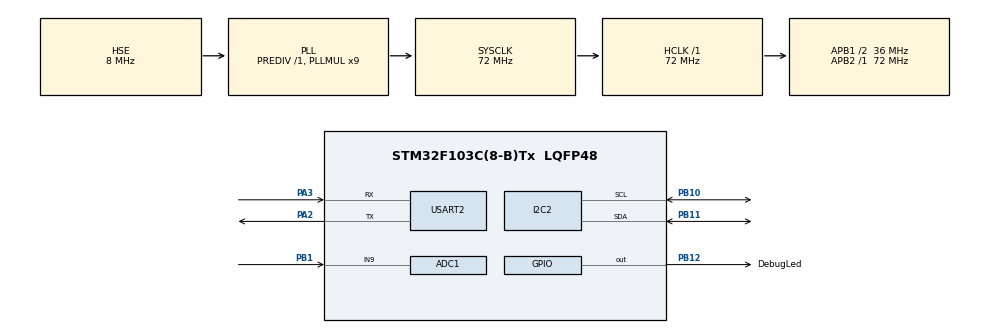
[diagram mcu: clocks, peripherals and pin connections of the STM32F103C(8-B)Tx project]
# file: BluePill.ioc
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ADC1.Channel-2\#ChannelRegularConversion=ADC_CHANNEL_9
ADC1.NbrOfConversionFlag=1
ADC1.Rank-2\#ChannelRegularConversion=1
ADC1.SamplingTime-2\#ChannelRegularConversion=ADC_SAMPLETIME_1CYCLE_5
ADC1.master=1
Mcu.Family=STM32F1
Mcu.Name=STM32F103C(8-B)Tx
Mcu.Package=LQFP48
NVIC.PriorityGroup=NVIC_PRIORITYGROUP_4
NVIC.USART2_IRQn=true\:0\:0\:false\:false\:true\:true\:true
PA13.Mode=Serial_Wire
PA13.Signal=SYS_JTMS-SWDIO
PA14.Mode=Serial_Wire
PA14.Signal=SYS_JTCK-SWCLK
PA2.Mode=Asynchronous
PA2.Signal=USART2_TX
PA3.Mode=Asynchronous
PA3.Signal=USART2_RX
PB1.Signal=ADCx_IN9
PB10.Mode=I2C
PB10.Signal=I2C2_SCL
PB11.Mode=I2C
PB11.Signal=I2C2_SDA
PB12.GPIO_Label=DebugLed
PB12.Signal=GPIO_Output
PD0-OSC_IN.Mode=HSE-External-Oscillator
PD0-OSC_IN.Signal=RCC_OSC_IN
PD1-OSC_OUT.Mode=HSE-External-Oscillator
PD1-OSC_OUT.Signal=RCC_OSC_OUT
ProjectManager.HeapSize=0x200
ProjectManager.StackSize=0x400
ProjectManager.TargetToolchain=STM32CubeIDE
RCC.ADCPresc=RCC_ADCPCLK2_DIV6
RCC.AHBFreq_Value=72000000
RCC.APB1CLKDivider=RCC_HCLK_DIV2
RCC.APB1Freq_Value=36000000
RCC.APB1TimFreq_Value=72000000
RCC.APB2Freq_Value=72000000
RCC.APB2TimFreq_Value=72000000
RCC.HCLKFreq_Value=72000000
RCC.PLLMUL=RCC_PLL_MUL9
RCC.PLLSourceVirtual=RCC_PLLSOURCE_HSE
RCC.SYSCLKFreq_VALUE=72000000
RCC.SYSCLKSource=RCC_SYSCLKSOURCE_PLLCLK
RCC.USBFreq_Value=72000000
SH.ADCx_IN9.0=ADC1_IN9,IN9
USART2.VirtualMode=VM_ASYNC
board=custom

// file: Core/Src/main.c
/* USER CODE BEGIN Header */
/**
  ******************************************************************************
  * @file           : main.c
  * @brief          : Main program body
  ******************************************************************************
  * @attention
  *
  * <h2><center>&copy; Copyright (c) 2021 STMicroelectronics.
  * All rights reserved.</center></h2>
  *
  * This software component is licensed by ST under BSD 3-Clause license,
  * the "License"; You may not use this file except in compliance with the
  * License. You may obtain a copy of the License at:
  *                        opensource.org/licenses/BSD-3-Clause
  *
  ******************************************************************************
  */
/* USER CODE END Header */
#include "main.h"

ADC_HandleTypeDef hadc1;

I2C_HandleTypeDef hi2c2;

UART_HandleTypeDef huart2;

void SystemClock_Config(void);
static void MX_GPIO_Init(void);
static void MX_USART2_UART_Init(void);
static void MX_I2C2_Init(void);
static void MX_ADC1_Init(void);

int main(void)
{

  /* MCU Configuration--------------------------------------------------------*/

  /* Reset of all peripherals, Initializes the Flash interface and the Systick. */
  HAL_Init();

  /* Configure the system clock */
  SystemClock_Config();

  /* Initialize all configured peripherals */
  MX_GPIO_Init();
  MX_USART2_UART_Init();
  MX_I2C2_Init();
  MX_ADC1_Init();
  /* USER CODE BEGIN 2 */

	int i;
	int error;

	for(i = 0; i < LINE_BUFLEN; i++)
		input.line_rx_buffer[i] = 0;

	// Reset some stuff
	input.byte_buffer_rx[0] = 0;
	input.char_counter = 0;
	input.command_execute_flag = FALSE;
	debug_enable = FALSE;
	command.i2c_scan_cmd.i2c_handle = hi2c2;
	command.adc_get_cmd.adc_handle = hadc1;
	HAL_UART_Receive_IT(&huart2, input.byte_buffer_rx, BYTE_BUFLEN);

	FL_debug("starting the main function");

  /* USER CODE END 2 */

  /* Infinite loop */
  /* USER CODE BEGIN WHILE */
  while (1)
  {
	  if(input.command_execute_flag == TRUE)
	  {
		  HAL_GPIO_TogglePin(DebugLed_GPIO_Port, DebugLed_Pin);
		  FL_debug("");
		  input.command_execute_flag = FALSE;
		  error = FL_uart_decode();

		  if(error)
		  {
			  FL_error_handler("main.c", "main", "FL_uart_decode() returned an error\n");
		  }

//		  printf("back in main.c\n");
//		  printf("Command set_res contents:\n");
//		  printf("\tdigipot   : %d\n", command.set_res_cmd.digipot_no);
//		  printf("\tresistance: %d\n", command.set_res_cmd.res);

		  LL_exec();
		  FL_clean(hi2c2, hadc1);
		  HAL_GPIO_TogglePin(DebugLed_GPIO_Port, DebugLed_Pin);
	  }

    /* USER CODE END WHILE */

  }
}

void SystemClock_Config(void)
{
  RCC_OscInitTypeDef RCC_OscInitStruct = {0};
  RCC_ClkInitTypeDef RCC_ClkInitStruct = {0};
  RCC_PeriphCLKInitTypeDef PeriphClkInit = {0};

  /** Initializes the RCC Oscillators according to the specified parameters
  * in the RCC_OscInitTypeDef structure.
  */
  RCC_OscInitStruct.OscillatorType = RCC_OSCILLATORTYPE_HSE;
  RCC_OscInitStruct.HSEState = RCC_HSE_ON;
  RCC_OscInitStruct.HSEPredivValue = RCC_HSE_PREDIV_DIV1;
  RCC_OscInitStruct.HSIState = RCC_HSI_ON;
  RCC_OscInitStruct.PLL.PLLState = RCC_PLL_ON;
  RCC_OscInitStruct.PLL.PLLSource = RCC_PLLSOURCE_HSE;
  RCC_OscInitStruct.PLL.PLLMUL = RCC_PLL_MUL9;
  if (HAL_RCC_OscConfig(&RCC_OscInitStruct) != HAL_OK)
  {
    Error_Handler();
  }
  /** Initializes the CPU, AHB and APB buses clocks
  */
  RCC_ClkInitStruct.ClockType = RCC_CLOCKTYPE_HCLK|RCC_CLOCKTYPE_SYSCLK
                              |RCC_CLOCKTYPE_PCLK1|RCC_CLOCKTYPE_PCLK2;
  RCC_ClkInitStruct.SYSCLKSource = RCC_SYSCLKSOURCE_PLLCLK;
  RCC_ClkInitStruct.AHBCLKDivider = RCC_SYSCLK_DIV1;
  RCC_ClkInitStruct.APB1CLKDivider = RCC_HCLK_DIV2;
  RCC_ClkInitStruct.APB2CLKDivider = RCC_HCLK_DIV1;

  if (HAL_RCC_ClockConfig(&RCC_ClkInitStruct, FLASH_LATENCY_2) != HAL_OK)
  {
    Error_Handler();
  }
  PeriphClkInit.PeriphClockSelection = RCC_PERIPHCLK_ADC;
  PeriphClkInit.AdcClockSelection = RCC_ADCPCLK2_DIV6;
  if (HAL_RCCEx_PeriphCLKConfig(&PeriphClkInit) != HAL_OK)
  {
    Error_Handler();
  }
}

static void MX_ADC1_Init(void)
{

  ADC_ChannelConfTypeDef sConfig = {0};

  /** Common config
  */
  hadc1.Instance = ADC1;
  hadc1.Init.ScanConvMode = ADC_SCAN_DISABLE;
  hadc1.Init.ContinuousConvMode = DISABLE;
  hadc1.Init.DiscontinuousConvMode = DISABLE;
  hadc1.Init.ExternalTrigConv = ADC_SOFTWARE_START;
  hadc1.Init.DataAlign = ADC_DATAALIGN_RIGHT;
  hadc1.Init.NbrOfConversion = 1;
  if (HAL_ADC_Init(&hadc1) != HAL_OK)
  {
    Error_Handler();
  }
  /** Configure Regular Channel
  */
  sConfig.Channel = ADC_CHANNEL_9;
  sConfig.Rank = ADC_REGULAR_RANK_1;
  sConfig.SamplingTime = ADC_SAMPLETIME_1CYCLE_5;
  if (HAL_ADC_ConfigChannel(&hadc1, &sConfig) != HAL_OK)
  {
    Error_Handler();
  }

}

static void MX_I2C2_Init(void)
{

  hi2c2.Instance = I2C2;
  hi2c2.Init.ClockSpeed = 100000;
  hi2c2.Init.DutyCycle = I2C_DUTYCYCLE_2;
  hi2c2.Init.OwnAddress1 = 0;
  hi2c2.Init.AddressingMode = I2C_ADDRESSINGMODE_7BIT;
  hi2c2.Init.DualAddressMode = I2C_DUALADDRESS_DISABLE;
  hi2c2.Init.OwnAddress2 = 0;
  hi2c2.Init.GeneralCallMode = I2C_GENERALCALL_DISABLE;
  hi2c2.Init.NoStretchMode = I2C_NOSTRETCH_DISABLE;
  if (HAL_I2C_Init(&hi2c2) != HAL_OK)
  {
    Error_Handler();
  }

}

static void MX_USART2_UART_Init(void)
{

  huart2.Instance = USART2;
  huart2.Init.BaudRate = 115200;
  huart2.Init.WordLength = UART_WORDLENGTH_8B;
  huart2.Init.StopBits = UART_STOPBITS_1;
  huart2.Init.Parity = UART_PARITY_NONE;
  huart2.Init.Mode = UART_MODE_TX_RX;
  huart2.Init.HwFlowCtl = UART_HWCONTROL_NONE;
  huart2.Init.OverSampling = UART_OVERSAMPLING_16;
  if (HAL_UART_Init(&huart2) != HAL_OK)
  {
    Error_Handler();
  }

}

static void MX_GPIO_Init(void)
{
  GPIO_InitTypeDef GPIO_InitStruct = {0};

  /* GPIO Ports Clock Enable */
  __HAL_RCC_GPIOD_CLK_ENABLE();
  __HAL_RCC_GPIOA_CLK_ENABLE();
  __HAL_RCC_GPIOB_CLK_ENABLE();

  /*Configure GPIO pin Output Level */
  HAL_GPIO_WritePin(DebugLed_GPIO_Port, DebugLed_Pin, GPIO_PIN_RESET);

  /*Configure GPIO pin : DebugLed_Pin */
  GPIO_InitStruct.Pin = DebugLed_Pin;
  GPIO_InitStruct.Mode = GPIO_MODE_OUTPUT_PP;
  GPIO_InitStruct.Pull = GPIO_NOPULL;
  GPIO_InitStruct.Speed = GPIO_SPEED_FREQ_LOW;
  HAL_GPIO_Init(DebugLed_GPIO_Port, &GPIO_InitStruct);

}

/* USER CODE BEGIN 4 */

#ifdef __GNUC__
	#define USART_PRINTF int __io_putchar(int ch)		//With GCC/RAISONANCE printf calls __io_putchar()
#else
	#define USART_PRINTF int fputc(int ch, FILE *f)		//With other compiler printf calls fputc()
#endif /* __GNUC__ */

//Retargets the C library printf function to the USART
USART_PRINTF
{
	HAL_UART_Transmit(&huart2, (uint8_t *)&ch, 1, 0xFFFF);	//Write character to UART2
	return ch;												//Return the character
}

/* USER CODE END 4 */

void Error_Handler(void)
{
}

/************************ (C) COPYRIGHT STMicroelectronics *****END OF FILE****/
